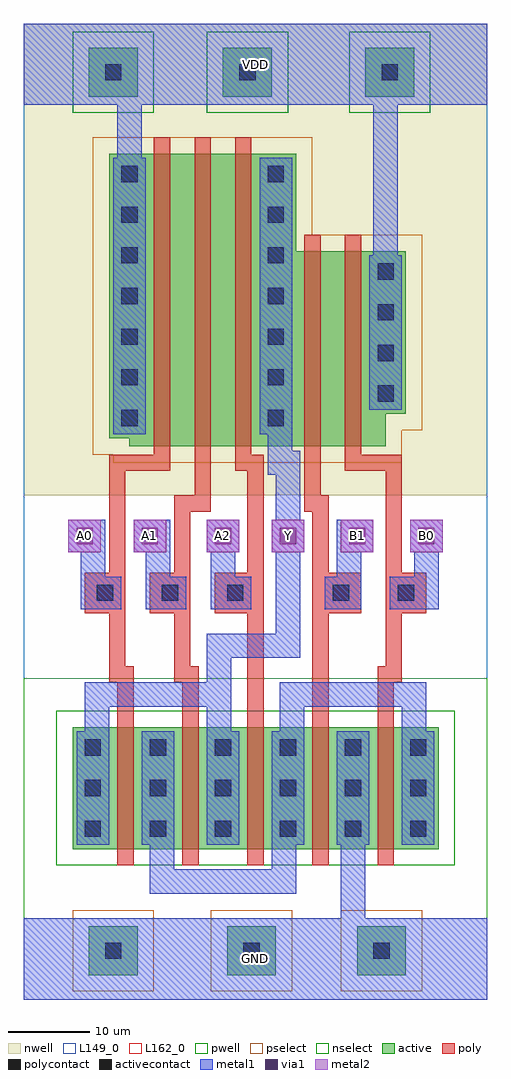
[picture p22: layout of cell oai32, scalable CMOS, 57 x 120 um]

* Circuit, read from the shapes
.subckt oai32 A0 A1 A2 B0 B1 GND VDD Y
M1 n1 A0 Y GND nfet w=15u l=2u
M2 Y A1 n1 GND nfet w=15u l=2u
M3 n1 A2 Y GND nfet w=15u l=2u
M4 GND B1 n1 GND nfet w=15u l=2u
M5 n1 B0 GND GND nfet w=15u l=2u
M6 n2 A0 VDD VDD pfet w=36u l=2u
M7 n3 A1 n2 VDD pfet w=36u l=2u
M8 Y A2 n3 VDD pfet w=36u l=2u
M9 n4 B1 Y VDD pfet w=24u l=2u
M10 VDD B0 n4 VDD pfet w=24u l=2u
.ends

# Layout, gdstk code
import gdstk
lib = gdstk.Library(unit=1e-6, precision=1e-09)
def R(c, l, rs):  # rectangles x0, y0, x1, y1
    for r in rs: c.add(gdstk.rectangle(r[:2], r[2:], *l))
def A(c, l, x, y, w, h, nx, ny, dx, dy):  # array of equal rectangles
    R(c, l, [(x+i*dx, y+j*dy, x+i*dx+w, y+j*dy+h) for i in range(nx) for j in range(ny)])
def P(c, l, *ps):  # polygons
    for p in ps: c.add(gdstk.Polygon(p, *l))
pwell = (41, 0)
nwell = (42, 0)
active = (43, 0)
pselect = (44, 0)
nselect = (45, 0)
poly = (46, 0)
polycontact = (47, 0)
activecontact = (48, 0)
metal1 = (49, 0)
via1 = (50, 0)
metal2 = (51, 0)
L149_0 = (149, 0)
L162_0 = (162, 0)

nwell_contact = lib.new_cell('nwell_contact')
R(nwell_contact, nwell, [(-6,-5,6,6)])
R(nwell_contact, active, [(-3,-3,3,3)])
R(nwell_contact, nselect, [(-5,-5,5,5)])
R(nwell_contact, activecontact, [(-1,-1,1,1)])

pwell_contact = lib.new_cell('pwell_contact')
R(pwell_contact, pwell, [(-6,-6,6,5)])
R(pwell_contact, active, [(-3,-3,3,3)])
R(pwell_contact, pselect, [(-5,-5,5,5)])
R(pwell_contact, activecontact, [(-1,-1,1,1)])

via = lib.new_cell('via')
R(via, metal1, [(-2,-2,2,2)])
R(via, via1, [(-1,-1,1,1)])
R(via, metal2, [(-2,-2,2,2)])

oai32 = lib.new_cell('oai32')
R(oai32, pwell, [(0,0,57,20), (0,10,57,39.5), (0,12.5,57,39.5)])
R(oai32, nwell, [(0,62,57,110), (0,95,57,120)])
P(oai32, nwell, [(4.5,63),(7,63),(7,62),(50.5,62),(50.5,66),(53,66),(53,98),(39.5,98),(39.5,110),(4.5,110)])
R(oai32, active, [(6,18.5,11.5,33.5), (6,18.5,51,33.5), (45.5,18.5,51,33.5)])
P(oai32, active, [(10.5,69),(13,69),(13,68),(44.5,68),(44.5,72),(47,72),(47,92),(33.5,92),(33.5,104),(10.5,104)])
P(oai32, pselect, [(8.5,67),(11,67),(11,66),(46.5,66),(46.5,70),(49,70),(49,94),(35.5,94),(35.5,106),(8.5,106)])
R(oai32, nselect, [(4,16.5,53,35.5)])
A(oai32, poly, 11.5, 16.5, 2, 2, 5, 2, 8, 17)
A(oai32, poly, 11.5, 18.5, 2, 15, 5, 1, 8, 0)
A(oai32, poly, 7.5, 47.5, 5, 5, 3, 1, 8, 0)
A(oai32, poly, 16, 66, 2, 2, 3, 2, 5, 38)
A(oai32, poly, 16, 68, 2, 36, 3, 1, 5, 0)
R(oai32, poly, [(36.5,47.5,41.5,52.5), (44.5,47.5,49.5,52.5), (34.5,66,36.5,68), (39.5,66,41.5,68), (34.5,68,36.5,92), (39.5,68,41.5,92), (34.5,92,36.5,94), (39.5,92,41.5,94)])
A(oai32, polycontact, 9, 49, 2, 2, 3, 1, 8, 0)
R(oai32, polycontact, [(38,49,40,51), (46,49,48,51)])
A(oai32, activecontact, 7.5, 20, 2, 2, 6, 3, 8, 5)
A(oai32, activecontact, 12, 70.5, 2, 2, 1, 7, 0, 5)
A(oai32, activecontact, 30, 70.5, 2, 2, 1, 7, 0, 5)
A(oai32, activecontact, 43.5, 73.5, 2, 2, 1, 4, 0, 5)
A(oai32, metal1, 6.5, 19, 4, 14, 6, 1, 8, 0)
A(oai32, metal1, 8, 48, 4, 4, 3, 1, 8, 0)
R(oai32, metal1, [(0,0,57,10), (0,0,57,10), (37,48,41,52), (45,48,49,52), (11,69.5,15,103.5), (29,69.5,33,103.5), (42.5,72.5,46.5,91.5), (0,110,57,120), (0,110,57,120)])
A(oai32, metal2, 30.5, 55, 4, 4, 3, 1, 8.5, 0)
R(oai32, metal2, [(5.5,55,9.5,59), (13.5,55,17.5,59), (22.5,55,26.5,59)])
A(oai32, L149_0, 8, 48, 4, 4, 3, 1, 8, 0)
R(oai32, L149_0, [(0,0,57,10), (0,0,57,120), (37,48,41,52), (45,48,49,52), (0,110,57,120)])
A(oai32, L162_0, 30.5, 55, 4, 4, 3, 1, 8.5, 0)
R(oai32, L162_0, [(5.5,55,9.5,59), (13.5,55,17.5,59), (22.5,55,26.5,59)])
oai32.add(gdstk.FlexPath([(13,103.5),(13,110)], 3, ends="flush", simple_path=True, layer=149, datatype=0))  # L149_0
oai32.add(gdstk.FlexPath([(44.5,91.5),(44.5,110)], 3, ends="flush", simple_path=True, layer=149, datatype=0))  # L149_0
oai32.add(gdstk.FlexPath([(24,33),(24,37.5),(9,37.5),(9,33)], 3, ends="flush", simple_path=True, layer=149, datatype=0))  # L149_0
oai32.add(gdstk.FlexPath([(33,33),(33,37.5),(48,37.5),(48,33)], 3, ends="flush", simple_path=True, layer=149, datatype=0))  # L149_0
oai32.add(gdstk.FlexPath([(24,39),(24,43.5),(32.5,43.5),(32.5,66),(31.5,66),(31.5,69.5)], 3, ends="flush", simple_path=True, layer=149, datatype=0))  # L149_0
oai32.add(gdstk.FlexPath([(16.5,59),(16.5,48)], 3, ends="flush", simple_path=True, layer=149, datatype=0))  # L149_0
oai32.add(gdstk.FlexPath([(40,59),(40,48)], 3, ends="flush", simple_path=True, layer=149, datatype=0))  # L149_0
oai32.add(gdstk.FlexPath([(49.5,55),(49.5,48)], 3, ends="flush", simple_path=True, layer=149, datatype=0))  # L149_0
oai32.add(gdstk.FlexPath([(24.5,55),(24.5,48)], 3, ends="flush", simple_path=True, layer=149, datatype=0))  # L149_0
oai32.add(gdstk.FlexPath([(8.5,59),(8.5,48)], 3, ends="flush", simple_path=True, layer=149, datatype=0))  # L149_0
oai32.add(gdstk.FlexPath([(17,19),(17,14.5),(32,14.5),(32,19)], 3, ends="flush", simple_path=True, layer=149, datatype=0))  # L149_0
oai32.add(gdstk.FlexPath([(40.5,19),(40.5,10)], 3, ends="flush", simple_path=True, layer=149, datatype=0))  # L149_0
oai32.add(gdstk.FlexPath([(12.5,35.5),(12.5,40),(11.5,40),(11.5,66),(18,66)], 2, ends="flush", simple_path=True, layer=46, datatype=0))  # poly
oai32.add(gdstk.FlexPath([(20.5,35.5),(20.5,40),(19.5,40),(19.5,61),(22,61),(22,66)], 2, ends="flush", simple_path=True, layer=46, datatype=0))  # poly
oai32.add(gdstk.FlexPath([(35.5,66),(35.5,61),(36.5,61),(36.5,35.5)], 2, ends="flush", simple_path=True, layer=46, datatype=0))  # poly
oai32.add(gdstk.FlexPath([(26,66),(28.5,66),(28.5,35.5)], 2, ends="flush", simple_path=True, layer=46, datatype=0))  # poly
oai32.add(gdstk.FlexPath([(44.5,35.5),(44.5,40),(45.5,40),(45.5,66),(39.5,66)], 2, ends="flush", simple_path=True, layer=46, datatype=0))  # poly
oai32.add(gdstk.FlexPath([(13,103.5),(13,110)], 3, ends="flush", simple_path=True, layer=49, datatype=0))  # metal1
oai32.add(gdstk.FlexPath([(44.5,91.5),(44.5,110)], 3, ends="flush", simple_path=True, layer=49, datatype=0))  # metal1
oai32.add(gdstk.FlexPath([(17,19),(17,14.5),(32,14.5),(32,19)], 3, ends="flush", simple_path=True, layer=49, datatype=0))  # metal1
oai32.add(gdstk.FlexPath([(24,33),(24,37.5),(9,37.5),(9,33)], 3, ends="flush", simple_path=True, layer=49, datatype=0))  # metal1
oai32.add(gdstk.FlexPath([(33,33),(33,37.5),(48,37.5),(48,33)], 3, ends="flush", simple_path=True, layer=49, datatype=0))  # metal1
oai32.add(gdstk.FlexPath([(24,39),(24,43.5),(32.5,43.5),(32.5,66),(31.5,66),(31.5,69.5)], 3, ends="flush", simple_path=True, layer=49, datatype=0))  # metal1
oai32.add(gdstk.FlexPath([(16.5,59),(16.5,48)], 3, ends="flush", simple_path=True, layer=49, datatype=0))  # metal1
oai32.add(gdstk.FlexPath([(40,59),(40,48)], 3, ends="flush", simple_path=True, layer=49, datatype=0))  # metal1
oai32.add(gdstk.FlexPath([(49.5,55),(49.5,48)], 3, ends="flush", simple_path=True, layer=49, datatype=0))  # metal1
oai32.add(gdstk.FlexPath([(24.5,55),(24.5,48)], 3, ends="flush", simple_path=True, layer=49, datatype=0))  # metal1
oai32.add(gdstk.FlexPath([(8.5,59),(8.5,48)], 3, ends="flush", simple_path=True, layer=49, datatype=0))  # metal1
oai32.add(gdstk.FlexPath([(40.5,19),(40.5,10)], 3, ends="flush", simple_path=True, layer=49, datatype=0))  # metal1
oai32.add(gdstk.Reference(nwell_contact, (27.5,114)))
oai32.add(gdstk.Reference(nwell_contact, (45,114)))
oai32.add(gdstk.Reference(nwell_contact, (11,114)))
oai32.add(gdstk.Reference(pwell_contact, (28,6)))
oai32.add(gdstk.Reference(pwell_contact, (44,6)))
oai32.add(gdstk.Reference(pwell_contact, (11,6)))
oai32.add(gdstk.Reference(via, (15.5,57)))
oai32.add(gdstk.Reference(via, (32.5,57)))
oai32.add(gdstk.Reference(via, (24.5,57)))
oai32.add(gdstk.Reference(via, (7.5,57)))
oai32.add(gdstk.Reference(via, (41,57)))
oai32.add(gdstk.Reference(via, (49.5,57)))
oai32.add(gdstk.Label('Y', (32.5,57), layer=3, texttype=0))
oai32.add(gdstk.Label('A2', (24.5,57), layer=3, texttype=0))
oai32.add(gdstk.Label('B1', (41,57), layer=3, texttype=0))
oai32.add(gdstk.Label('A1', (15.5,57), layer=3, texttype=0))
oai32.add(gdstk.Label('A0', (7.5,57), layer=3, texttype=0))
oai32.add(gdstk.Label('B0', (49.5,57), layer=3, texttype=0))
oai32.add(gdstk.Label('GND', (28.5,5), layer=2, texttype=0))
oai32.add(gdstk.Label('VDD', (28.5,115), layer=2, texttype=0))

lib.write_gds('oai32.gds')
